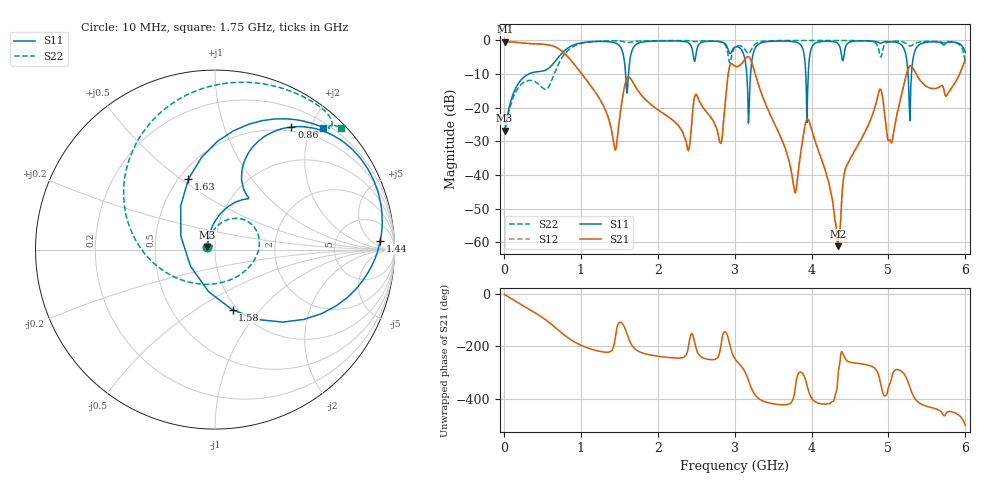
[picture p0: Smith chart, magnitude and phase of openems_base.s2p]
! G_pp200: Plane pair 50 × 30 mm, d = 0.2 mm, ports at a corner and the centre
! stackup: plane pair, 0.2 mm FR-4
! ports: 1 corner, 2 centre
! openEMS 0.37.0, staircase, base mesh (dfine 0.1 mm), 323400 cells
# Hz S RI R 1
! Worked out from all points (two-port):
!   600 points, 10 MHz to 6 GHz, reference 1 ohm
!   highest |S21| = -0.38 dB at 20 MHz (marker M1); lowest = -61.2 dB at 4.34 GHz (marker M2)
!   |S21| within 3 dB of the highest: start of sweep to 764.3 MHz
!   lowest |S11| = -26.9 dB at 10 MHz (marker M3), VSWR 1.09, Z = 0.918 + j0.0273 ohm
!   |S11| at or under -10 dB: start of sweep to 320.4 MHz; 1.583 GHz to 1.621 GHz (38.09 MHz wide, 2.38 % of centre); 3.157 GHz to 3.208 GHz (50.87 MHz wide, 1.6 % of centre)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
!   |S22| runs from -27.0 to 0.0 dB; largest |S21 - S12| = 0.00088
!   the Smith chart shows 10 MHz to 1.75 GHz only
!   S11 on the Smith chart (normalised r, x): 10 MHz: 0.92, +0.03; 860 MHz: 0.44, +1.72; 1.44 GHz: 17, +11; 1.58 GHz: 0.95, -0.72; 1.63 GHz: 0.56, +0.54; 1.75 GHz: 0.28, +2.19
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1e7  -0.0427 0.0148  0.9563 -0.03  0.9565 -0.0304  -0.0426 0.0138
2e7  -0.0412 0.029  0.9551 -0.0604  0.9547 -0.0607  -0.0407 0.027
4.9e8  0.1835 0.295  0.0446 -0.8762  0.0442 -0.8761  0.1602 -0.1246
8.6e8  0.4255 0.6826  -0.519 -0.0724  -0.519 -0.0721  -0.4204 0.6247
1.01e9  0.6727 0.6276  -0.3077 0.0898  -0.3078 0.09  -0.0626 0.8995
1.44e9  0.9205 0.0492  -0.0252 0.00157  -0.0249 0.00151  0.5788 0.7996
1.58e9  0.0978 -0.3358  -0.1635 -0.1658  -0.1635 -0.1656  0.6489 0.684
1.63e9  -0.1477 0.3939  -0.2838 -0.0247  -0.2838 -0.0245  0.6336 0.6826
1.75e9  0.603 0.6802  -0.1376 0.1081  -0.1374 0.108  0.7042 0.6756
2.01e9  0.8857 0.418  -0.0497 0.0776  -0.0494 0.0774  0.8044 0.5791
2.81e9  0.9555 0.0334  -0.0244 0.0179  -0.0247 0.0179  0.9353 0.2
3.01e9  0.7964 0.0197  -0.1457 0.3859  -0.1459 0.3857  0.6887 0.4113
3.2e9  0.022 0.2279  0.5229 0.1378  0.5232 0.1378  0.5379 0.3997
3.78e9  0.9482 0.027  0.00543 -0.00136  0.00562 -0.00153  0.9289 0.3603
3.9e9  0.5571 -0.3334  0.0277 0.033  0.0275 0.0328  0.9368 0.3343
4.01e9  0.5741 0.5788  0.0332 -0.0285  0.033 -0.0285  0.9429 0.3191
4.34e9  0.8985 0.0571  0.000747 0.00045  0.000792 0.00065  0.9618 0.2607
4.88e9  0.9182 0.061  0.1321 0.1208  0.1323 0.1208  0.6771 -0.0359
5.01e9  0.9479 0.00486  0.0322 0.0077  0.0319 0.00765  0.9039 0.3047
5.28e9  -0.0475 0.0432  0.4175 0.0268  0.4171 0.0272  0.8069 0.1738
5.5e9  0.8492 0.3966  0.0749 -0.1913  0.0752 -0.1907  0.9416 0.2128
6e9  0.6579 0.0161  -0.3986 -0.3194  -0.3994 -0.3199  0.4223 -0.1411
